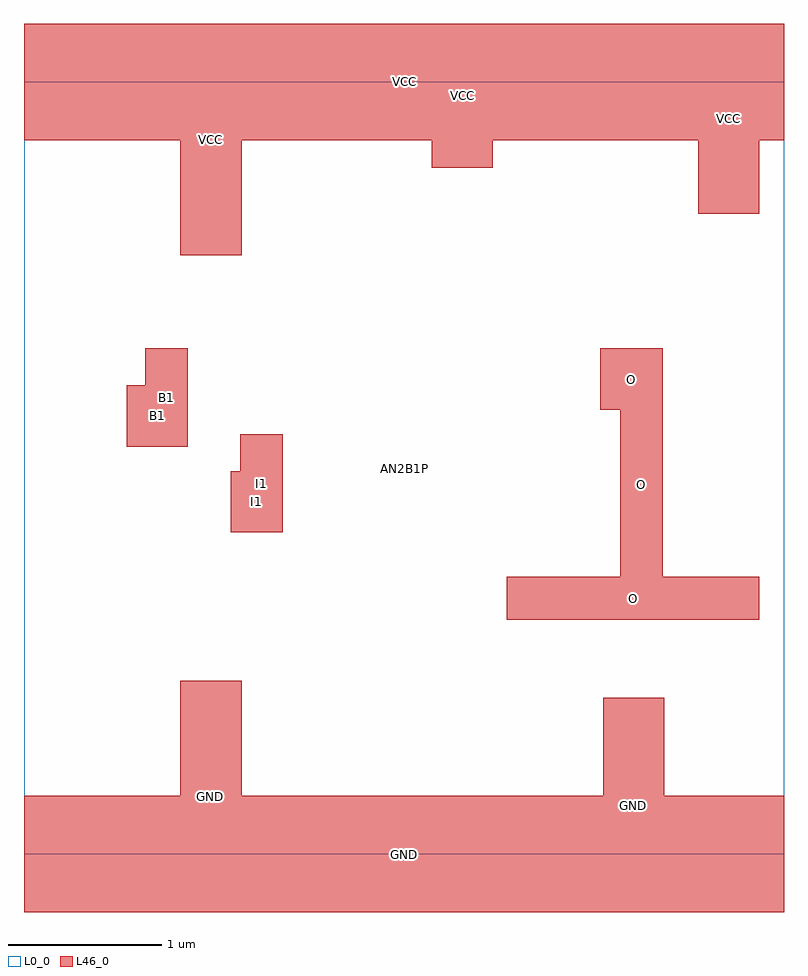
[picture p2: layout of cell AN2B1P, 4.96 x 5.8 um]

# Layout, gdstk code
import gdstk
lib = gdstk.Library(unit=1e-6, precision=1e-09)
def R(c, l, rs):  # rectangles x0, y0, x1, y1
    for r in rs: c.add(gdstk.rectangle(r[:2], r[2:], *l))
L0_0 = (0, 0)
L46_0 = (46, 0)

an2b1p = lib.new_cell('AN2B1P')
R(an2b1p, L0_0, [(0,0,4.96,5.04)])
R(an2b1p, L46_0, [(0,-0.38,4.96,0.38), (1.02,-0.38,1.42,1.13), (3.78,-0.38,4.18,1.02), (3.15,1.53,4.8,1.81), (3.89,1.53,4.17,3.3), (1.35,2.1,1.69,2.5), (1.41,2.1,1.69,2.74), (0.67,2.66,1.07,3.06), (0.79,2.66,1.07,3.3), (3.76,2.9,4.17,3.3), (1.02,3.91,1.42,5.42), (4.4,4.18,4.8,5.42), (2.66,4.48,3.06,5.42), (0,4.66,4.96,5.42)])
an2b1p.add(gdstk.Label('AN2B1P', (2.48,2.52), layer=0, texttype=0))
an2b1p.add(gdstk.Label('O', (3.965,3.1), layer=101, texttype=0))
an2b1p.add(gdstk.Label('O', (3.975,1.67), layer=101, texttype=0))
an2b1p.add(gdstk.Label('O', (4.03,2.415), layer=101, texttype=0))
an2b1p.add(gdstk.Label('I1', (1.55,2.42), layer=101, texttype=0))
an2b1p.add(gdstk.Label('I1', (1.52,2.3), layer=101, texttype=0))
an2b1p.add(gdstk.Label('B1', (0.93,2.98), layer=101, texttype=0))
an2b1p.add(gdstk.Label('B1', (0.87,2.86), layer=101, texttype=0))
an2b1p.add(gdstk.Label('GND', (3.98,0.32), layer=101, texttype=0))
an2b1p.add(gdstk.Label('GND', (2.48,0), layer=101, texttype=0))
an2b1p.add(gdstk.Label('GND', (1.22,0.375), layer=101, texttype=0))
an2b1p.add(gdstk.Label('VCC', (2.86,4.95), layer=101, texttype=0))
an2b1p.add(gdstk.Label('VCC', (4.6,4.8), layer=101, texttype=0))
an2b1p.add(gdstk.Label('VCC', (2.48,5.04), layer=101, texttype=0))
an2b1p.add(gdstk.Label('VCC', (1.22,4.665), layer=101, texttype=0))

lib.write_gds('AN2B1P.gds')
